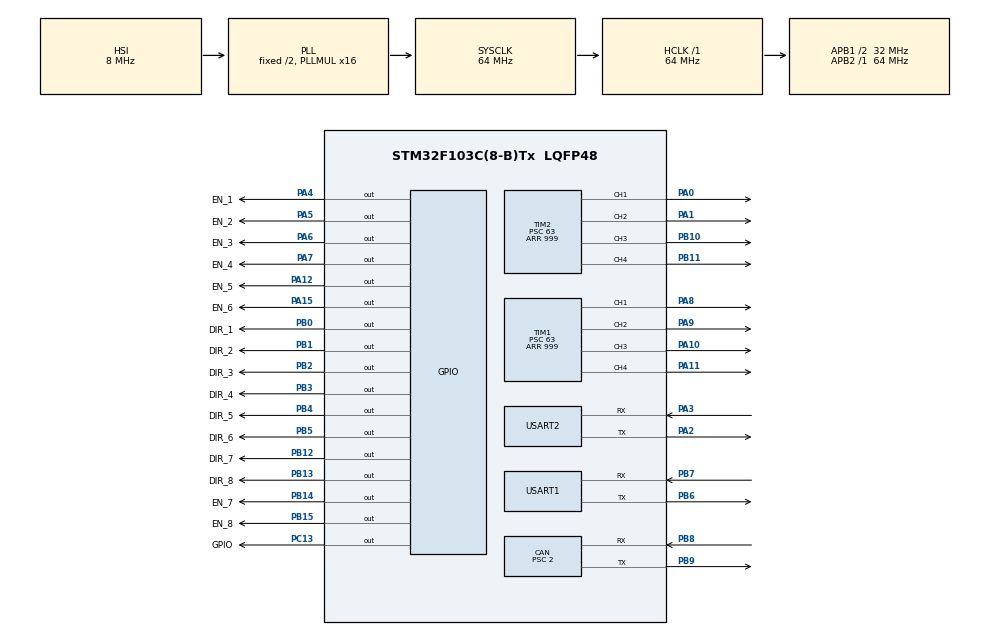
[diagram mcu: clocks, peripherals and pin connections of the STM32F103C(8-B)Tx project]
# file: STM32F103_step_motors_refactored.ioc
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CAN.BS1=CAN_BS1_11TQ
CAN.BS2=CAN_BS2_4TQ
CAN.CalculateBaudRate=1000000
CAN.CalculateTimeBit=1000
CAN.CalculateTimeQuantum=62.5
CAN.Prescaler=2
CAN.TXFP=ENABLE
FREERTOS.Tasks01=task_can_handle,40,128,start_task_can_handler,Default,NULL,Dynamic,NULL,NULL;task_dispatcher,24,256,start_task_dispatcher,Default,NULL,Dynamic,NULL,NULL;task_motion_con,48,256,start_task_motion_controller,Default,NULL,Dynamic,NULL,NULL;task_tmc2209_ma,16,256,start_task_tmc2209_manager,Default,NULL,Dynamic,NULL,NULL;task_watchdog,24,128,start_task_watchdog,Default,NULL,Dynamic,NULL,NULL
FREERTOS.configTOTAL_HEAP_SIZE=8192
FREERTOS.configUSE_NEWLIB_REENTRANT=1
IWDG.Prescaler=IWDG_PRESCALER_256
IWDG.Reload=624
Mcu.Family=STM32F1
Mcu.Name=STM32F103C(8-B)Tx
Mcu.Package=LQFP48
NVIC.CAN1_RX1_IRQn=true\:5\:0\:false\:false\:true\:true\:true\:true\:true
NVIC.PriorityGroup=NVIC_PRIORITYGROUP_4
NVIC.TIM2_IRQn=true\:5\:0\:false\:false\:true\:true\:true\:true\:true
NVIC.TIM4_IRQn=true\:15\:0\:false\:false\:true\:false\:false\:true\:true
NVIC.TimeBase=TIM4_IRQn
NVIC.TimeBaseIP=TIM4
NVIC.USB_LP_CAN1_RX0_IRQn=true\:5\:0\:false\:false\:true\:true\:true\:true\:true
PA0-WKUP.Signal=S_TIM2_CH1_ETR
PA1.Signal=S_TIM2_CH2
PA10.Signal=S_TIM1_CH3
PA11.Signal=S_TIM1_CH4
PA12.GPIO_Label=EN_5
PA12.Signal=GPIO_Output
PA13.Mode=Serial_Wire
PA13.Signal=SYS_JTMS-SWDIO
PA14.Mode=Serial_Wire
PA14.Signal=SYS_JTCK-SWCLK
PA15.GPIO_Label=EN_6
PA15.Signal=GPIO_Output
PA2.Mode=Asynchronous
PA2.Signal=USART2_TX
PA3.Mode=Asynchronous
PA3.Signal=USART2_RX
PA4.GPIO_Label=EN_1
PA4.Signal=GPIO_Output
PA5.GPIO_Label=EN_2
PA5.Signal=GPIO_Output
PA6.GPIO_Label=EN_3
PA6.Signal=GPIO_Output
PA7.GPIO_Label=EN_4
PA7.Signal=GPIO_Output
PA8.Signal=S_TIM1_CH1
PA9.Signal=S_TIM1_CH2
PB0.GPIO_Label=DIR_1
PB0.Signal=GPIO_Output
PB1.GPIO_Label=DIR_2
PB1.Signal=GPIO_Output
PB10.Signal=S_TIM2_CH3
PB11.Signal=S_TIM2_CH4
PB12.GPIO_Label=DIR_7
PB12.Signal=GPIO_Output
PB13.GPIO_Label=DIR_8
PB13.Signal=GPIO_Output
PB14.GPIO_Label=EN_7
PB14.Signal=GPIO_Output
PB15.GPIO_Label=EN_8
PB15.Signal=GPIO_Output
PB2.GPIO_Label=DIR_3
PB2.Signal=GPIO_Output
PB3.GPIO_Label=DIR_4
PB3.Signal=GPIO_Output
PB4.GPIO_Label=DIR_5
PB4.Signal=GPIO_Output
PB5.GPIO_Label=DIR_6
PB5.Signal=GPIO_Output
PB6.Mode=Asynchronous
PB6.Signal=USART1_TX
PB7.Mode=Asynchronous
PB7.Signal=USART1_RX
PB8.Mode=CAN_Activate
PB8.Signal=CAN_RX
PB9.Mode=CAN_Activate
PB9.Signal=CAN_TX
PC13-TAMPER-RTC.GPIO_Label=GPIO
PC13-TAMPER-RTC.Signal=GPIO_Output
ProjectManager.HeapSize=0x200
ProjectManager.StackSize=0x400
ProjectManager.TargetToolchain=STM32CubeIDE
RCC.AHBFreq_Value=64000000
RCC.APB1CLKDivider=RCC_HCLK_DIV2
RCC.APB1Freq_Value=32000000
RCC.APB1TimFreq_Value=64000000
RCC.APB2Freq_Value=64000000
RCC.APB2TimFreq_Value=64000000
RCC.HCLKFreq_Value=64000000
RCC.PLLMUL=RCC_PLL_MUL16
RCC.SYSCLKFreq_VALUE=64000000
RCC.SYSCLKSource=RCC_SYSCLKSOURCE_PLLCLK
RCC.USBFreq_Value=64000000
SH.S_TIM1_CH1.0=TIM1_CH1,PWM Generation1 CH1
SH.S_TIM1_CH2.0=TIM1_CH2,PWM Generation2 CH2
SH.S_TIM1_CH3.0=TIM1_CH3,PWM Generation3 CH3
SH.S_TIM1_CH4.0=TIM1_CH4,PWM Generation4 CH4
SH.S_TIM2_CH1_ETR.0=TIM2_CH1,PWM Generation1 CH1
SH.S_TIM2_CH2.0=TIM2_CH2,PWM Generation2 CH2
SH.S_TIM2_CH3.0=TIM2_CH3,PWM Generation3 CH3
SH.S_TIM2_CH4.0=TIM2_CH4,PWM Generation4 CH4
TIM1.AutomaticOutput=TIM_AUTOMATICOUTPUT_ENABLE
TIM1.Channel-PWM\ Generation1\ CH1=TIM_CHANNEL_1
TIM1.Channel-PWM\ Generation2\ CH2=TIM_CHANNEL_2
TIM1.Channel-PWM\ Generation3\ CH3=TIM_CHANNEL_3
TIM1.Channel-PWM\ Generation4\ CH4=TIM_CHANNEL_4
TIM1.Period=999
TIM1.Prescaler=63
TIM1.Pulse-PWM\ Generation1\ CH1=500
TIM1.Pulse-PWM\ Generation2\ CH2=500
TIM1.Pulse-PWM\ Generation3\ CH3=500
TIM1.Pulse-PWM\ Generation4\ CH4=500
TIM2.Channel-PWM\ Generation1\ CH1=TIM_CHANNEL_1
TIM2.Channel-PWM\ Generation2\ CH2=TIM_CHANNEL_2
TIM2.Channel-PWM\ Generation3\ CH3=TIM_CHANNEL_3
TIM2.Channel-PWM\ Generation4\ CH4=TIM_CHANNEL_4
TIM2.Period=999
TIM2.Prescaler=63
TIM2.Pulse-PWM\ Generation1\ CH1=500
TIM2.Pulse-PWM\ Generation2\ CH2=500
TIM2.Pulse-PWM\ Generation3\ CH3=500
TIM2.Pulse-PWM\ Generation4\ CH4=500
USART1.VirtualMode=VM_ASYNC
USART2.VirtualMode=VM_ASYNC
VP_FREERTOS_VS_CMSIS_V2.Mode=CMSIS_V2
VP_IWDG_VS_IWDG.Mode=IWDG_Activate
VP_RTC_No_RTC_Output.Mode=RTC_OUT_NO
VP_RTC_VS_RTC_Activate.Mode=RTC_Enabled
VP_SYS_VS_tim4.Mode=TIM4
VP_TIM1_VS_ClockSourceINT.Mode=Internal
VP_TIM2_VS_ClockSourceINT.Mode=Internal
board=custom

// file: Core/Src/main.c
/* USER CODE BEGIN Header */
/**
  ******************************************************************************
  * @file           : main.c
  * @brief          : Main program body
  ******************************************************************************
  * @attention
  *
  * Copyright (c) 2025 STMicroelectronics.
  * All rights reserved.
  *
  * This software is licensed under terms that can be found in the LICENSE file
  * in the root directory of this software component.
  * If no LICENSE file comes with this software, it is provided AS-IS.
  *
  ******************************************************************************
  */
/* USER CODE END Header */
#include "main.h"
#include "cmsis_os.h"

/* USER CODE BEGIN Includes */
#include "app_flash.h"
#include "task_dispatcher.h"
#include "task_can_handler.h"
#include "task_motion_controller.h"
#include "task_tmc2209_manager.h"
#include "watchdog.h"
#include "app_config.h"
#include "command_protocol.h"
#include "motion_driver.h"
#include "tmc2209_driver.h" // Для типа TMC2209_Handle_t

/* USER CODE END Includes */

CAN_HandleTypeDef hcan;

IWDG_HandleTypeDef hiwdg;

RTC_HandleTypeDef hrtc;

TIM_HandleTypeDef htim1;
TIM_HandleTypeDef htim2;

UART_HandleTypeDef huart1;
UART_HandleTypeDef huart2;

/* Definitions for task_can_handle */
osThreadId_t task_can_handleHandle;
const osThreadAttr_t task_can_handle_attributes = {
  .name = "task_can_handle",
  .stack_size = 128 * 4,
  .priority = (osPriority_t) osPriorityHigh,
};
/* Definitions for task_dispatcher */
osThreadId_t task_dispatcherHandle;
const osThreadAttr_t task_dispatcher_attributes = {
  .name = "task_dispatcher",
  .stack_size = 256 * 4,
  .priority = (osPriority_t) osPriorityNormal,
};
/* Definitions for task_motion_con */
osThreadId_t task_motion_conHandle;
const osThreadAttr_t task_motion_con_attributes = {
  .name = "task_motion_con",
  .stack_size = 256 * 4,
  .priority = (osPriority_t) osPriorityRealtime,
};
/* Definitions for task_tmc2209_ma */
osThreadId_t task_tmc2209_maHandle;
const osThreadAttr_t task_tmc2209_ma_attributes = {
  .name = "task_tmc2209_ma",
  .stack_size = 256 * 4,
  .priority = (osPriority_t) osPriorityBelowNormal,
};
/* Definitions for task_watchdog */
osThreadId_t task_watchdogHandle;
const osThreadAttr_t task_watchdog_attributes = {
  .name = "task_watchdog",
  .stack_size = 128 * 4,
  .priority = (osPriority_t) osPriorityNormal,
};
/* USER CODE BEGIN PV */

osMessageQueueId_t can_rx_queueHandle;
osMessageQueueId_t can_tx_queueHandle;
osMessageQueueId_t dispatcher_queueHandle;
osMessageQueueId_t motion_queueHandle;
osMessageQueueId_t tmc_manager_queueHandle;

/* USER CODE END PV */

void SystemClock_Config(void);
static void MX_GPIO_Init(void);
static void MX_CAN_Init(void);
static void MX_RTC_Init(void);
static void MX_TIM1_Init(void);
static void MX_TIM2_Init(void);
static void MX_USART1_UART_Init(void);
static void MX_USART2_UART_Init(void);
static void MX_IWDG_Init(void);
void start_task_can_handler(void *argument);
void start_task_dispatcher(void *argument);
void start_task_motion_controller(void *argument);
void start_task_tmc2209_manager(void *argument);
void start_task_watchdog(void *argument);

int main(void)
{

  /* MCU Configuration--------------------------------------------------------*/

  /* Reset of all peripherals, Initializes the Flash interface and the Systick. */
  HAL_Init();

  /* Configure the system clock */
  SystemClock_Config();

  /* Initialize all configured peripherals */
  MX_GPIO_Init();
  MotionDriver_AllSafe();
  MX_CAN_Init();
  MX_RTC_Init();
  MX_TIM1_Init();
  MX_TIM2_Init();
  MX_USART1_UART_Init();
  MX_USART2_UART_Init();
  MotionDriver_AllSafe();
  MX_IWDG_Init();
  /* USER CODE BEGIN 2 */

  AppConfig_Init();

  // Создание очередей FreeRTOS с использованием именованных констант
  can_rx_queueHandle = osMessageQueueNew(CAN_RX_QUEUE_LEN, sizeof(CanRxFrame_t), NULL); // CAN-фрейм: на прием
  can_tx_queueHandle = osMessageQueueNew(CAN_TX_QUEUE_LEN, sizeof(CanTxFrame_t), NULL); // CAN-фрейм на отправку
  dispatcher_queueHandle = osMessageQueueNew(DISPATCHER_QUEUE_LEN, sizeof(ParsedCanCommand_t), NULL); // Структура команды
  motion_queueHandle = osMessageQueueNew(MOTION_QUEUE_LEN, sizeof(MotionCommand_t), NULL); // Задание на движение
  tmc_manager_queueHandle = osMessageQueueNew(TMC_MANAGER_QUEUE_LEN, sizeof(CAN_Command_t), NULL); // Команда TMC

  // Проверка успешности создания очередей
  if (can_rx_queueHandle == NULL || dispatcher_queueHandle == NULL ||
      motion_queueHandle == NULL || tmc_manager_queueHandle == NULL ||
      can_tx_queueHandle == NULL) {
    Error_Handler();
  }

  /* USER CODE END 2 */

  /* Init scheduler */
  osKernelInitialize();

  /* Create the thread(s) */
  /* creation of task_can_handle */
  task_can_handleHandle = osThreadNew(start_task_can_handler, NULL, &task_can_handle_attributes);

  /* creation of task_dispatcher */
  task_dispatcherHandle = osThreadNew(start_task_dispatcher, NULL, &task_dispatcher_attributes);

  /* creation of task_motion_con */
  task_motion_conHandle = osThreadNew(start_task_motion_controller, NULL, &task_motion_con_attributes);

  /* creation of task_tmc2209_ma */
  task_tmc2209_maHandle = osThreadNew(start_task_tmc2209_manager, NULL, &task_tmc2209_ma_attributes);

  /* creation of task_watchdog */
  task_watchdogHandle = osThreadNew(start_task_watchdog, NULL, &task_watchdog_attributes);

  /* USER CODE BEGIN RTOS_THREADS */
  /* add threads, ... */
  if (task_can_handleHandle == NULL ||
      task_dispatcherHandle == NULL ||
      task_motion_conHandle == NULL ||
      task_tmc2209_maHandle == NULL ||
      task_watchdogHandle == NULL) {
    Error_Handler();
  }

  /* USER CODE END RTOS_THREADS */

  /* Start scheduler */
  osKernelStart();

  /* We should never get here as control is now taken by the scheduler */

  /* Infinite loop */
  while (1)
  {

  }
}

void SystemClock_Config(void)
{
  RCC_OscInitTypeDef RCC_OscInitStruct = {0};
  RCC_ClkInitTypeDef RCC_ClkInitStruct = {0};
  RCC_PeriphCLKInitTypeDef PeriphClkInit = {0};

  /** Initializes the RCC Oscillators according to the specified parameters
  * in the RCC_OscInitTypeDef structure.
  */
  RCC_OscInitStruct.OscillatorType = RCC_OSCILLATORTYPE_HSI|RCC_OSCILLATORTYPE_LSI;
  RCC_OscInitStruct.HSIState = RCC_HSI_ON;
  RCC_OscInitStruct.HSICalibrationValue = RCC_HSICALIBRATION_DEFAULT;
  RCC_OscInitStruct.LSIState = RCC_LSI_ON;
  RCC_OscInitStruct.PLL.PLLState = RCC_PLL_ON;
  RCC_OscInitStruct.PLL.PLLSource = RCC_PLLSOURCE_HSI_DIV2;
  RCC_OscInitStruct.PLL.PLLMUL = RCC_PLL_MUL16;
  if (HAL_RCC_OscConfig(&RCC_OscInitStruct) != HAL_OK)
  {
    Error_Handler();
  }

  /** Initializes the CPU, AHB and APB buses clocks
  */
  RCC_ClkInitStruct.ClockType = RCC_CLOCKTYPE_HCLK|RCC_CLOCKTYPE_SYSCLK
                              |RCC_CLOCKTYPE_PCLK1|RCC_CLOCKTYPE_PCLK2;
  RCC_ClkInitStruct.SYSCLKSource = RCC_SYSCLKSOURCE_PLLCLK;
  RCC_ClkInitStruct.AHBCLKDivider = RCC_SYSCLK_DIV1;
  RCC_ClkInitStruct.APB1CLKDivider = RCC_HCLK_DIV2;
  RCC_ClkInitStruct.APB2CLKDivider = RCC_HCLK_DIV1;

  if (HAL_RCC_ClockConfig(&RCC_ClkInitStruct, FLASH_LATENCY_2) != HAL_OK)
  {
    Error_Handler();
  }
  PeriphClkInit.PeriphClockSelection = RCC_PERIPHCLK_RTC;
  PeriphClkInit.RTCClockSelection = RCC_RTCCLKSOURCE_LSI;
  if (HAL_RCCEx_PeriphCLKConfig(&PeriphClkInit) != HAL_OK)
  {
    Error_Handler();
  }
}

static void MX_CAN_Init(void)
{

  hcan.Instance = CAN1;
  hcan.Init.Prescaler = 2;
  hcan.Init.Mode = CAN_MODE_NORMAL;
  hcan.Init.SyncJumpWidth = CAN_SJW_1TQ;
  hcan.Init.TimeSeg1 = CAN_BS1_11TQ;
  hcan.Init.TimeSeg2 = CAN_BS2_4TQ;
  hcan.Init.TimeTriggeredMode = DISABLE;
  hcan.Init.AutoBusOff = DISABLE;
  hcan.Init.AutoWakeUp = DISABLE;
  hcan.Init.AutoRetransmission = DISABLE;
  hcan.Init.ReceiveFifoLocked = DISABLE;
  hcan.Init.TransmitFifoPriority = ENABLE;
  if (HAL_CAN_Init(&hcan) != HAL_OK)
  {
    Error_Handler();
  }

}

static void MX_IWDG_Init(void)
{

  hiwdg.Instance = IWDG;
  hiwdg.Init.Prescaler = IWDG_PRESCALER_256;
  hiwdg.Init.Reload = 624;
  if (HAL_IWDG_Init(&hiwdg) != HAL_OK)
  {
    Error_Handler();
  }

}

static void MX_RTC_Init(void)
{

  RTC_TimeTypeDef sTime = {0};
  RTC_DateTypeDef DateToUpdate = {0};

  /** Initialize RTC Only
  */
  hrtc.Instance = RTC;
  hrtc.Init.AsynchPrediv = RTC_AUTO_1_SECOND;
  hrtc.Init.OutPut = RTC_OUTPUTSOURCE_NONE;
  if (HAL_RTC_Init(&hrtc) != HAL_OK)
  {
    Error_Handler();
  }

  /** Initialize RTC and set the Time and Date
  */
  sTime.Hours = 0x0;
  sTime.Minutes = 0x0;
  sTime.Seconds = 0x0;

  if (HAL_RTC_SetTime(&hrtc, &sTime, RTC_FORMAT_BCD) != HAL_OK)
  {
    Error_Handler();
  }
  DateToUpdate.WeekDay = RTC_WEEKDAY_MONDAY;
  DateToUpdate.Month = RTC_MONTH_JANUARY;
  DateToUpdate.Date = 0x1;
  DateToUpdate.Year = 0x0;

  if (HAL_RTC_SetDate(&hrtc, &DateToUpdate, RTC_FORMAT_BCD) != HAL_OK)
  {
    Error_Handler();
  }

}

static void MX_TIM1_Init(void)
{

  TIM_ClockConfigTypeDef sClockSourceConfig = {0};
  TIM_MasterConfigTypeDef sMasterConfig = {0};
  TIM_OC_InitTypeDef sConfigOC = {0};
  TIM_BreakDeadTimeConfigTypeDef sBreakDeadTimeConfig = {0};

  htim1.Instance = TIM1;
  htim1.Init.Prescaler = 63;
  htim1.Init.CounterMode = TIM_COUNTERMODE_UP;
  htim1.Init.Period = 999;
  htim1.Init.ClockDivision = TIM_CLOCKDIVISION_DIV1;
  htim1.Init.RepetitionCounter = 0;
  htim1.Init.AutoReloadPreload = TIM_AUTORELOAD_PRELOAD_DISABLE;
  if (HAL_TIM_Base_Init(&htim1) != HAL_OK)
  {
    Error_Handler();
  }
  sClockSourceConfig.ClockSource = TIM_CLOCKSOURCE_INTERNAL;
  if (HAL_TIM_ConfigClockSource(&htim1, &sClockSourceConfig) != HAL_OK)
  {
    Error_Handler();
  }
  if (HAL_TIM_PWM_Init(&htim1) != HAL_OK)
  {
    Error_Handler();
  }
  sMasterConfig.MasterOutputTrigger = TIM_TRGO_RESET;
  sMasterConfig.MasterSlaveMode = TIM_MASTERSLAVEMODE_DISABLE;
  if (HAL_TIMEx_MasterConfigSynchronization(&htim1, &sMasterConfig) != HAL_OK)
  {
    Error_Handler();
  }
  sConfigOC.OCMode = TIM_OCMODE_PWM1;
  sConfigOC.Pulse = 500;
  sConfigOC.OCPolarity = TIM_OCPOLARITY_HIGH;
  sConfigOC.OCNPolarity = TIM_OCNPOLARITY_HIGH;
  sConfigOC.OCFastMode = TIM_OCFAST_DISABLE;
  sConfigOC.OCIdleState = TIM_OCIDLESTATE_RESET;
  sConfigOC.OCNIdleState = TIM_OCNIDLESTATE_RESET;
  if (HAL_TIM_PWM_ConfigChannel(&htim1, &sConfigOC, TIM_CHANNEL_1) != HAL_OK)
  {
    Error_Handler();
  }
  if (HAL_TIM_PWM_ConfigChannel(&htim1, &sConfigOC, TIM_CHANNEL_2) != HAL_OK)
  {
    Error_Handler();
  }
  if (HAL_TIM_PWM_ConfigChannel(&htim1, &sConfigOC, TIM_CHANNEL_3) != HAL_OK)
  {
    Error_Handler();
  }
  if (HAL_TIM_PWM_ConfigChannel(&htim1, &sConfigOC, TIM_CHANNEL_4) != HAL_OK)
  {
    Error_Handler();
  }
  sBreakDeadTimeConfig.OffStateRunMode = TIM_OSSR_DISABLE;
  sBreakDeadTimeConfig.OffStateIDLEMode = TIM_OSSI_DISABLE;
  sBreakDeadTimeConfig.LockLevel = TIM_LOCKLEVEL_OFF;
  sBreakDeadTimeConfig.DeadTime = 0;
  sBreakDeadTimeConfig.BreakState = TIM_BREAK_DISABLE;
  sBreakDeadTimeConfig.BreakPolarity = TIM_BREAKPOLARITY_HIGH;
  sBreakDeadTimeConfig.AutomaticOutput = TIM_AUTOMATICOUTPUT_ENABLE;
  if (HAL_TIMEx_ConfigBreakDeadTime(&htim1, &sBreakDeadTimeConfig) != HAL_OK)
  {
    Error_Handler();
  }
  HAL_TIM_MspPostInit(&htim1);

}

static void MX_TIM2_Init(void)
{

  TIM_ClockConfigTypeDef sClockSourceConfig = {0};
  TIM_MasterConfigTypeDef sMasterConfig = {0};
  TIM_OC_InitTypeDef sConfigOC = {0};

  htim2.Instance = TIM2;
  htim2.Init.Prescaler = 63;
  htim2.Init.CounterMode = TIM_COUNTERMODE_UP;
  htim2.Init.Period = 999;
  htim2.Init.ClockDivision = TIM_CLOCKDIVISION_DIV1;
  htim2.Init.AutoReloadPreload = TIM_AUTORELOAD_PRELOAD_DISABLE;
  if (HAL_TIM_Base_Init(&htim2) != HAL_OK)
  {
    Error_Handler();
  }
  sClockSourceConfig.ClockSource = TIM_CLOCKSOURCE_INTERNAL;
  if (HAL_TIM_ConfigClockSource(&htim2, &sClockSourceConfig) != HAL_OK)
  {
    Error_Handler();
  }
  if (HAL_TIM_PWM_Init(&htim2) != HAL_OK)
  {
    Error_Handler();
  }
  sMasterConfig.MasterOutputTrigger = TIM_TRGO_RESET;
  sMasterConfig.MasterSlaveMode = TIM_MASTERSLAVEMODE_DISABLE;
  if (HAL_TIMEx_MasterConfigSynchronization(&htim2, &sMasterConfig) != HAL_OK)
  {
    Error_Handler();
  }
  sConfigOC.OCMode = TIM_OCMODE_PWM1;
  sConfigOC.Pulse = 500;
  sConfigOC.OCPolarity = TIM_OCPOLARITY_HIGH;
  sConfigOC.OCFastMode = TIM_OCFAST_DISABLE;
  if (HAL_TIM_PWM_ConfigChannel(&htim2, &sConfigOC, TIM_CHANNEL_1) != HAL_OK)
  {
    Error_Handler();
  }
  if (HAL_TIM_PWM_ConfigChannel(&htim2, &sConfigOC, TIM_CHANNEL_2) != HAL_OK)
  {
    Error_Handler();
  }
  if (HAL_TIM_PWM_ConfigChannel(&htim2, &sConfigOC, TIM_CHANNEL_3) != HAL_OK)
  {
    Error_Handler();
  }
  if (HAL_TIM_PWM_ConfigChannel(&htim2, &sConfigOC, TIM_CHANNEL_4) != HAL_OK)
  {
    Error_Handler();
  }
  HAL_TIM_MspPostInit(&htim2);

}

static void MX_USART1_UART_Init(void)
{

  huart1.Instance = USART1;
  huart1.Init.BaudRate = 115200;
  huart1.Init.WordLength = UART_WORDLENGTH_8B;
  huart1.Init.StopBits = UART_STOPBITS_1;
  huart1.Init.Parity = UART_PARITY_NONE;
  huart1.Init.Mode = UART_MODE_TX_RX;
  huart1.Init.HwFlowCtl = UART_HWCONTROL_NONE;
  huart1.Init.OverSampling = UART_OVERSAMPLING_16;
  if (HAL_UART_Init(&huart1) != HAL_OK)
  {
    Error_Handler();
  }

}

static void MX_USART2_UART_Init(void)
{

  huart2.Instance = USART2;
  huart2.Init.BaudRate = 115200;
  huart2.Init.WordLength = UART_WORDLENGTH_8B;
  huart2.Init.StopBits = UART_STOPBITS_1;
  huart2.Init.Parity = UART_PARITY_NONE;
  huart2.Init.Mode = UART_MODE_TX_RX;
  huart2.Init.HwFlowCtl = UART_HWCONTROL_NONE;
  huart2.Init.OverSampling = UART_OVERSAMPLING_16;
  if (HAL_UART_Init(&huart2) != HAL_OK)
  {
    Error_Handler();
  }

}

static void MX_GPIO_Init(void)
{
  GPIO_InitTypeDef GPIO_InitStruct = {0};

  /* GPIO Ports Clock Enable */
  __HAL_RCC_GPIOC_CLK_ENABLE();
  __HAL_RCC_GPIOA_CLK_ENABLE();
  __HAL_RCC_GPIOB_CLK_ENABLE();

  /*Configure GPIO pin Output Level */
  HAL_GPIO_WritePin(GPIO_GPIO_Port, GPIO_Pin, GPIO_PIN_RESET);

  /*Configure GPIO pin Output Level */
  HAL_GPIO_WritePin(GPIOA, EN_1_Pin|EN_2_Pin|EN_3_Pin|EN_4_Pin
                          |EN_5_Pin|EN_6_Pin, GPIO_PIN_RESET);

  /*Configure GPIO pin Output Level */
  HAL_GPIO_WritePin(GPIOB, DIR_1_Pin|DIR_2_Pin|DIR_3_Pin|DIR_7_Pin
                          |DIR_8_Pin|EN_7_Pin|EN_8_Pin|DIR_4_Pin
                          |DIR_5_Pin|DIR_6_Pin, GPIO_PIN_RESET);

  /*Configure GPIO pin : GPIO_Pin */
  GPIO_InitStruct.Pin = GPIO_Pin;
  GPIO_InitStruct.Mode = GPIO_MODE_OUTPUT_PP;
  GPIO_InitStruct.Pull = GPIO_NOPULL;
  GPIO_InitStruct.Speed = GPIO_SPEED_FREQ_LOW;
  HAL_GPIO_Init(GPIO_GPIO_Port, &GPIO_InitStruct);

  /*Configure GPIO pins : EN_1_Pin EN_2_Pin EN_3_Pin EN_4_Pin
                           EN_5_Pin EN_6_Pin */
  GPIO_InitStruct.Pin = EN_1_Pin|EN_2_Pin|EN_3_Pin|EN_4_Pin
                          |EN_5_Pin|EN_6_Pin;
  GPIO_InitStruct.Mode = GPIO_MODE_OUTPUT_PP;
  GPIO_InitStruct.Pull = GPIO_NOPULL;
  GPIO_InitStruct.Speed = GPIO_SPEED_FREQ_LOW;
  HAL_GPIO_Init(GPIOA, &GPIO_InitStruct);

  /*Configure GPIO pins : DIR_1_Pin DIR_2_Pin DIR_3_Pin DIR_7_Pin
                           DIR_8_Pin EN_7_Pin EN_8_Pin DIR_4_Pin
                           DIR_5_Pin DIR_6_Pin */
  GPIO_InitStruct.Pin = DIR_1_Pin|DIR_2_Pin|DIR_3_Pin|DIR_7_Pin
                          |DIR_8_Pin|EN_7_Pin|EN_8_Pin|DIR_4_Pin
                          |DIR_5_Pin|DIR_6_Pin;
  GPIO_InitStruct.Mode = GPIO_MODE_OUTPUT_PP;
  GPIO_InitStruct.Pull = GPIO_NOPULL;
  GPIO_InitStruct.Speed = GPIO_SPEED_FREQ_LOW;
  HAL_GPIO_Init(GPIOB, &GPIO_InitStruct);

}

void start_task_can_handler(void *argument)
{
  /* USER CODE BEGIN 5 */
  app_start_task_can_handler(argument);
  /* Infinite loop */
  for(;;)
  {
    osDelay(1);
  }
  /* USER CODE END 5 */
}

void start_task_dispatcher(void *argument)
{
  /* USER CODE BEGIN start_task_dispatcher */
  app_start_task_dispatcher(argument);
  /* Infinite loop */
  for(;;)
  {
    osDelay(1);
  }
  /* USER CODE END start_task_dispatcher */
}

void start_task_motion_controller(void *argument)
{
  /* USER CODE BEGIN start_task_motion_controller */
  app_start_task_motion_controller(argument);
  /* Infinite loop */
  for(;;)
  {
    osDelay(1);
  }
  /* USER CODE END start_task_motion_controller */
}

void start_task_tmc2209_manager(void *argument)
{
  /* USER CODE BEGIN start_task_tmc2209_manager */
  app_start_task_tmc2209_manager(argument);
  /* Infinite loop */
  for(;;)
  {
    osDelay(1);
  }
  /* USER CODE END start_task_tmc2209_manager */
}

void start_task_watchdog(void *argument)
{
  /* USER CODE BEGIN start_task_watchdog */
  app_start_task_watchdog(argument);
  /* Infinite loop */
  for(;;)
  {
    osDelay(1);
  }
  /* USER CODE END start_task_watchdog */
}

void HAL_TIM_PeriodElapsedCallback(TIM_HandleTypeDef *htim)
{
  if (htim->Instance == TIM4)
  {
    HAL_IncTick();
  }
}

void Error_Handler(void)
{
  /* USER CODE BEGIN Error_Handler_Debug */
  /* User can add his own implementation to report the HAL error return state */
  MotionDriver_AllSafe();
  __disable_irq();
  while (1)
  {
  }
  /* USER CODE END Error_Handler_Debug */
}
